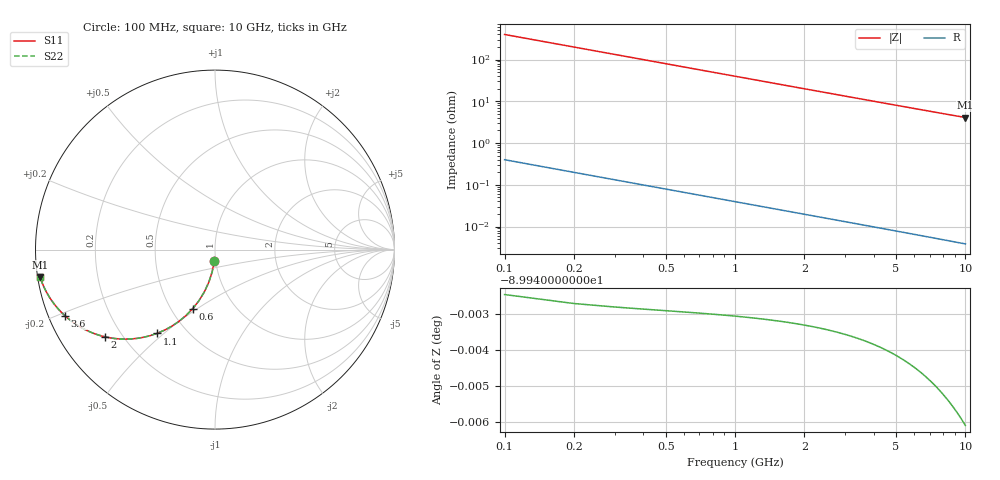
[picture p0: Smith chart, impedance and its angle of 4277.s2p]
# Hz S RI R 50.00
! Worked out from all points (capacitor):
!   100 points, 100 MHz to 10 GHz, reference 50 ohm
!   read as one part in shunt: C = 4 pF near 100 MHz
!   lowest |Z| = 4.09 ohm at 10 GHz (marker M1)
!   S11 on the Smith chart (normalised r, x): 100 MHz: 0.98, -0.12; 600 MHz: 0.64, -0.48; 1.1 GHz: 0.34, -0.47; 2 GHz: 0.14, -0.34; 3.6 GHz: 0.05, -0.21; 10 GHz: 0.01, -0.08
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1e8  -0.004 -0.0626  0.996 -0.0627  0.996 -0.0627  -0.004 -0.0626
2e8  -0.0157 -0.1237  0.9843 -0.1239  0.9843 -0.1239  -0.0157 -0.1237
3e8  -0.0345 -0.182  0.9654 -0.1822  0.9654 -0.1822  -0.0345 -0.182
4e8  -0.0597 -0.2363  0.9403 -0.2366  0.9403 -0.2366  -0.0597 -0.2363
5e8  -0.0902 -0.2858  0.9098 -0.2861  0.9098 -0.2861  -0.0902 -0.2858
6e8  -0.1248 -0.3298  0.8752 -0.3302  0.8752 -0.3302  -0.1248 -0.3298
8e8  -0.2021 -0.4008  0.7979 -0.4013  0.7979 -0.4013  -0.2021 -0.4008
9e8  -0.2426 -0.4279  0.7574 -0.4285  0.7574 -0.4285  -0.2426 -0.4279
1.1e9  -0.3235 -0.4669  0.6765 -0.4677  0.6765 -0.4677  -0.3235 -0.4669
1.4e9  -0.4361 -0.4949  0.5639 -0.4959  0.5639 -0.4959  -0.4361 -0.4949
1.8e9  -0.5607 -0.4952  0.4393 -0.4964  0.4393 -0.4964  -0.5607 -0.4952
2e9  -0.6116 -0.4862  0.3884 -0.4876  0.3884 -0.4876  -0.6116 -0.4862
2.3e9  -0.6753 -0.4669  0.3247 -0.4686  0.3247 -0.4686  -0.6753 -0.4669
2.6e9  -0.7264 -0.4444  0.2736 -0.4462  0.2736 -0.4462  -0.7264 -0.4444
3e9  -0.7792 -0.4132  0.2208 -0.4153  0.2208 -0.4153  -0.7792 -0.4132
3.4e9  -0.8191 -0.3832  0.1809 -0.3857  0.1809 -0.3857  -0.8191 -0.3832
3.6e9  -0.8353 -0.3691  0.1646 -0.3717  0.1646 -0.3717  -0.8353 -0.3691
4.3e9  -0.8784 -0.3247  0.1216 -0.3279  0.1216 -0.3279  -0.8784 -0.3247
5.1e9  -0.9103 -0.2834  0.0897 -0.2871  0.0897 -0.2871  -0.9103 -0.2834
6.7e9  -0.9459 -0.2233  0.0541 -0.2282  0.0541 -0.2282  -0.9459 -0.2233
8.4e9  -0.9648 -0.1805  0.0351 -0.1867  0.0351 -0.1867  -0.9648 -0.1805
1e10  -0.9749 -0.152  0.025 -0.1594  0.025 -0.1594  -0.9749 -0.152
